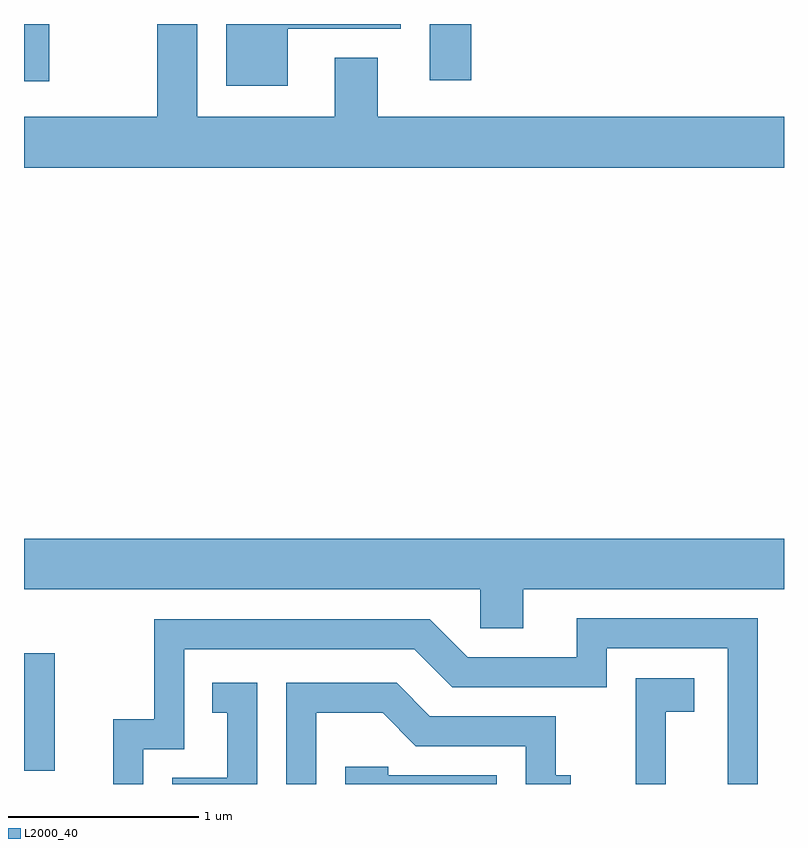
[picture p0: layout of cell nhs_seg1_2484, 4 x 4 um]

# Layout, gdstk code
import gdstk
lib = gdstk.Library(unit=1e-6, precision=1e-09)
def R(c, l, rs):  # rectangles x0, y0, x1, y1
    for r in rs: c.add(gdstk.rectangle(r[:2], r[2:], *l))
def P(c, l, *ps):  # polygons
    for p in ps: c.add(gdstk.Polygon(p, *l))
L2000_40 = (2000, 40)

nhs_seg1_2484 = lib.new_cell('nhs_seg1_2484')
R(nhs_seg1_2484, L2000_40, [(261.611,849.781,261.774,850.399), (261.611,853.411,261.744,853.712), (263.746,853.416,263.964,853.712)])
P(nhs_seg1_2484, L2000_40, [(265.611,853.224),(263.474,853.224),(263.474,853.534),(263.246,853.534),(263.246,853.224),(262.524,853.224),(262.524,853.712),(262.311,853.712),(262.311,853.224),(261.611,853.224),(261.611,852.956),(265.611,852.956)],
  [(262.999,853.686),(263.594,853.686),(263.594,853.712),(262.676,853.712),(262.676,853.386),(262.999,853.386)],
  [(264.239,850.736),(265.611,850.736),(265.611,851.004),(261.611,851.004),(261.611,850.736),(264.011,850.736),(264.011,850.531),(264.239,850.531)],
  [(262.239,849.896),(262.454,849.896),(262.454,850.421),(263.664,850.421),(263.864,850.221),(264.679,850.221),(264.679,850.426),(265.316,850.426),(265.316,849.712),(265.474,849.712),(265.474,850.584),(264.521,850.584),(264.521,850.379),(263.947,850.379),(263.747,850.579),(262.296,850.579),(262.296,850.054),(262.081,850.054),(262.081,849.712),(262.239,849.712)],
  [(264.989,850.091),(265.139,850.091),(265.139,850.269),(264.831,850.269),(264.831,849.712),(264.989,849.712)],
  [(263.149,850.086),(263.499,850.086),(263.674,849.911),(264.251,849.911),(264.251,849.712),(264.488,849.712),(264.488,849.759),(264.409,849.759),(264.409,850.069),(263.747,850.069),(263.572,850.244),(262.991,850.244),(262.991,849.712),(263.149,849.712)],
  [(262.839,850.244),(262.603,850.244),(262.603,850.086),(262.681,850.086),(262.681,849.744),(262.391,849.744),(262.391,849.712),(262.839,849.712)],
  [(264.099,849.759),(263.529,849.759),(263.529,849.804),(263.301,849.804),(263.301,849.712),(264.099,849.712)])

lib.write_gds('nhs_seg1_2484.gds')
